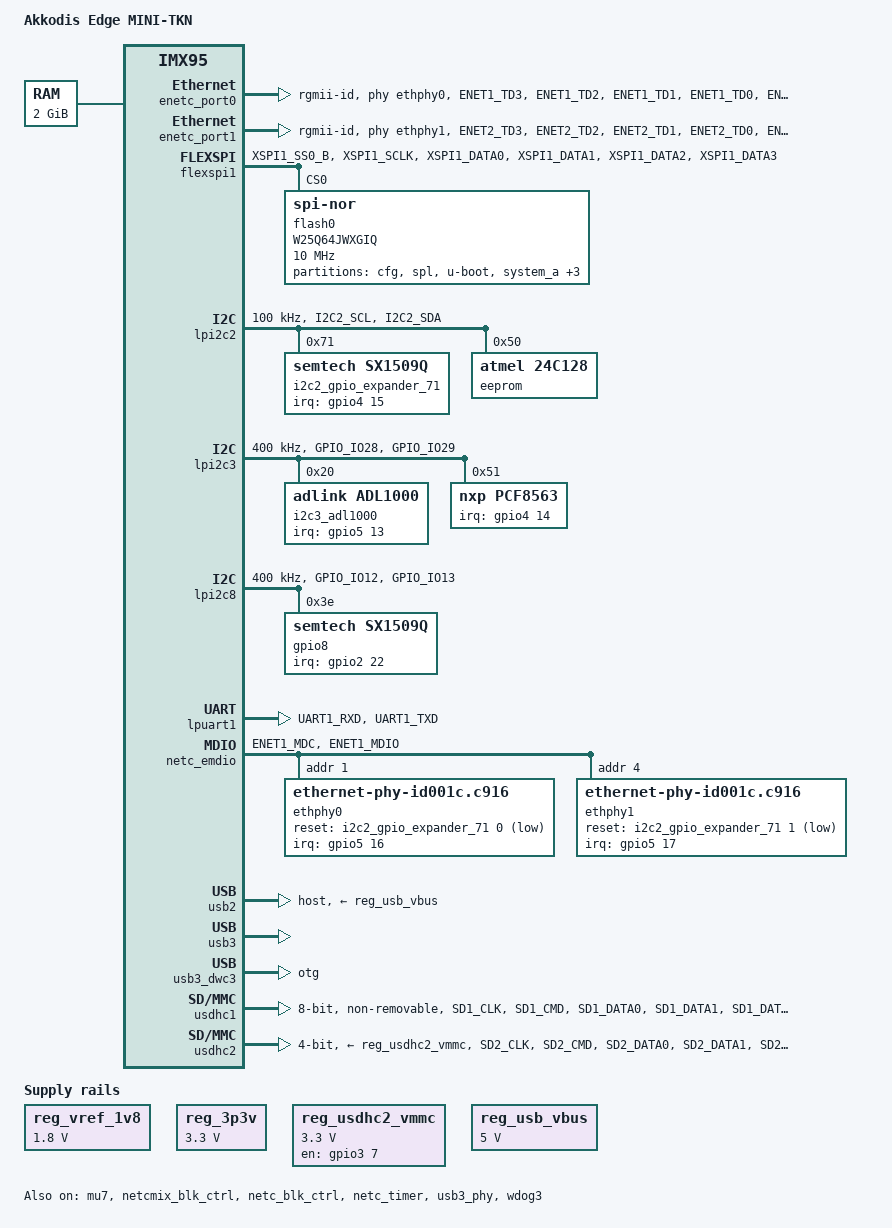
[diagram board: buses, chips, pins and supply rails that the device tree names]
// SPDX-License-Identifier: (GPL-2.0+ OR MIT)
/*
 * Copyright Akkodis Edge 2026
 */

/dts-v1/;

#include <dt-bindings/pwm/pwm.h>
#include <dt-bindings/usb/pd.h>
#include "imx95.dtsi"

#define FALLING_EDGE			1
#define RISING_EDGE			2

#define BRD_SM_CTRL_SD3_WAKE		0x8000	/* PCAL6408A-0 */
#define BRD_SM_CTRL_PCIE1_WAKE		0x8001	/* PCAL6408A-4 */
#define BRD_SM_CTRL_BT_WAKE		0x8002	/* PCAL6408A-5 */
#define BRD_SM_CTRL_PCIE2_WAKE		0x8003	/* PCAL6408A-6 */
#define BRD_SM_CTRL_BUTTON		0x8004	/* PCAL6408A-7 */

/ {
	model = "Akkodis Edge MINI-TKN";
	compatible = "ake,mtkn", "fsl,imx95";

	aliases {
		ethernet0 = &enetc_port0;
		ethernet1 = &enetc_port1;
		gpio0 = &gpio1;
		gpio1 = &gpio2;
		gpio2 = &gpio3;
		gpio3 = &gpio4;
		gpio4 = &gpio5;
		i2c0 = &lpi2c1;
		i2c1 = &lpi2c2;
		i2c2 = &lpi2c3;
		i2c3 = &lpi2c4;
		i2c4 = &lpi2c5;
		i2c5 = &lpi2c6;
		i2c6 = &lpi2c7;
		i2c7 = &lpi2c8;
		mmc0 = &usdhc1;
		mmc1 = &usdhc2;
		serial0 = &lpuart1;
		serial4 = &lpuart5;
	};

	chosen {
		stdout-path = &lpuart1;
	};

	memory@80000000 {
		device_type = "memory";
		reg = <0x0 0x80000000 0 0x80000000>;
	};

	reserved-memory {
		#address-cells = <2>;
		#size-cells = <2>;
		ranges;

		linux_cma: linux,cma {
			compatible = "shared-dma-pool";
			alloc-ranges = <0 0x80000000 0 0x7f000000>;
			size = <0 0x3c000000>;
			linux,cma-default;
			reusable;
		};
	};

	reg_vref_1v8: regulator-1p8v {
		compatible = "regulator-fixed";
		regulator-max-microvolt = <1800000>;
		regulator-min-microvolt = <1800000>;
		regulator-name = "+V1.8_SW";
	};

	reg_3p3v: regulator-3p3v {
		compatible = "regulator-fixed";
		regulator-max-microvolt = <3300000>;
		regulator-min-microvolt = <3300000>;
		regulator-name = "+V3.3_SW";
	};

	reg_usdhc2_vmmc: regulator-usdhc2 {
		compatible = "regulator-fixed";
		pinctrl-names = "default";
		pinctrl-0 = <&pinctrl_reg_usdhc2_vmmc>;
		regulator-name = "VDD_SD2_3V3";
		regulator-min-microvolt = <3300000>;
		regulator-max-microvolt = <3300000>;
		gpio = <&gpio3 7 GPIO_ACTIVE_HIGH>;
		off-on-delay-us = <12000>;
		enable-active-high;
	};

	reg_usb_vbus: regulator-vbus {
		compatible = "regulator-fixed";
		regulator-name = "USB_VBUS";
		regulator-min-microvolt = <5000000>;
		regulator-max-microvolt = <5000000>;
	};
};

&enetc_port0 {
	pinctrl-names = "default";
	pinctrl-0 = <&pinctrl_enetc0>;
	phy-handle = <&ethphy0>;
	phy-mode = "rgmii-id";
	status = "okay";
};

&enetc_port1 {
	pinctrl-names = "default";
	pinctrl-0 = <&pinctrl_enetc1>;
	phy-handle = <&ethphy1>;
	phy-mode = "rgmii-id";
	status = "okay";
};

&flexspi1 {
	pinctrl-names = "default";
	pinctrl-0 = <&pinctrl_flexspi1>;
	status = "okay";

	flash0: W25Q64JWXGIQ@0 {
		compatible = "jedec,spi-nor";
		reg = <0>;
		#address-cells = <1>;
		#size-cells = <1>;
		/*
		 * FIXME: Limit to fairly low frequency to start with,
		 * come back here and find a higher and stable
		 * frequency.
		 */
		spi-max-frequency = <10000000>;
		spi-tx-bus-width = <4>;
		spi-rx-bus-width = <4>;

		partitions {
			compatible = "fixed-partitions";
			#address-cells = <1>;
			#size-cells = <1>;

			cfg@0 {
				/*
				 * 0x0 OFTAD key blob
				 * 0x400 FlexSPI Config Block
				 */
				label = "cfg";
				reg = <0x000000 0x001000>;
			};
			spl@1000 {
				label = "spl";
				reg = <0x001000 0x1ff000>;
			};
			u-boot@200000 {
				label = "u-boot";
				reg = <0x200000 0x200000>;
			};
			system_a@400000 {
				label = "system_a";
				reg = <0x400000 0x010000>;
			};
			system_b@410000 {
				label = "system_b";
				reg = <0x410000 0x010000>;
			};
			user_a@420000 {
				label = "user_a";
				reg = <0x420000 0x010000>;
			};
			user_b@430000 {
				label = "user_b";
				reg = <0x430000 0x010000>;
			};
		};
	};
};

&lpi2c2 {
	clock-frequency = <100000>;
	pinctrl-names = "default";
	pinctrl-0 = <&pinctrl_lpi2c2>;
	status = "okay";

	i2c2_gpio_expander_71: i2c2_gpio_expander_71@71 {
		/* GPIO Expander  Mapping :
		 * - 0: ENET1_RST_B_3V			=>			U2001
		 * - 1: ENET2_RST_B_3V			=>			U2101
		 * - 2: SERDES_RST#_3V			=>			SMARC S77 PCIE_C_RST
		 * - 3: RC210_EN_3V			=>			U1300 ,RC21008B001GND
		 * - 4: LT9611_RSTN_3V			=>			U1500
		 * - 5: HDMI_INT_3V				<= 			U1500
		 * - 6: PCIEA_RST#_3V			=>			SMARC P75
		 * - 7: PCIEB_RST#_3V			=>			SMARC S76
		 * - 8: TPM_RST_N_1V8			=> 			U2400
		 * - 9: LID#_1V8				<= R1005	SMARC S148
		 * - 10: SLEEP#_1V8				<= R1010	SMARC S149
		 * - 11: CHARGING#_1V8			<= R1007	SMARC S151
		 * - 12: CHARGER_PRSNT#_1V8		<= R1011	SMARC S152
		 * - 13: BATLOW#_1V8			<= R1014	SMARC S156
		 * - 14: TEST#_1V8				<= R1015	SMARC S157
		 * - 15: DSI0_TE_1V8    		<= R1087	SMARC S144
		 */
		#gpio-cells = <2>;
		#interrupt-cells = <2>;
		compatible = "semtech,sx1509q";
		reg = <0x71>;
		semtech,probe-reset;
		gpio-controller;
		interrupt-controller;
		interrupt-parent = <&gpio4>;
		interrupts = <15 IRQ_TYPE_LEVEL_LOW>;
		pinctrl-names = "default";
		pinctrl-0 = <&pinctrl_sx1509q>;
		status = "okay";
	};

    eeprom@50 {
        compatible = "atmel,24c128";
        reg = <0x50>;
        pagesize = <64>;
        num-addresses = <1>;
    };
};

&lpi2c3 {
	clock-frequency = <400000>;
	pinctrl-names = "default";
	pinctrl-0 = <&pinctrl_lpi2c3>;
	status = "okay";

	i2c3_adl1000: i2c3_adl1000@20 {
		compatible = "adlink,adl1000";
		pinctrl-names = "default";
		//interrupt pin A3, A4, B0, B1, B2, B5, B6, B10, B11, B12, B13, B14, B15
		//INT : PC2 , SCL : PB8 , SDA : PB9
		/* GPIO Expander  Mapping :
		 * - 0: PA0 		LCD1_VDD_EN_1V8			=>			SMARC S116 LCD1_VDD_EN
		 * - 1: PA1 		LCD1_BKLT_EN_1V8		=>			SMARC S107 LCD1_BKLT_EN
		 * - 2: PA3(int)	CN_GPIO13_1V8			=>			SMARC S123 GPIO13
		 * - 3: PA4(int) 	CN_GPIO12_1V8			=>			SMARC S142 GPIO12
		 * - 4: PA5 		Detect_SYS_1V8			<=			R1040 VDD_1V8_S
		 * - 5: PA2 		FAN_PWM_MCU_1V8	(A2)	=>			NI => CN_GPIO5_PWM_1V8 (SMARC P113)
		 * - 6: PA7 		ETH_CLK_EN_1V8			=>			U1300 RC21008B001GND#BB0_RENESAS GPIO4
		 * - 7: PA10 		ONOFF_1V8	    		=> 			U600 (IMX95)

		 * - 8: PA11 		LCD0_VDD_EN_1V8	    	=> 			SMARC S133 LCD0_VDD_EN
		 * - 9: PA12 		LCD0_BKLT_EN_1V8		=>			SMARC S127 LCD0_BKLT_EN
		 * - 10: PB0(int) 	CN_GPIO0_CAM0_PWR#_1V8			=>	SMARC P108 CAM0_PWR
		 * - 11: PB1(int) 	CN_GPIO1_CAM1_PWR#_1V8			=> 	SMARC P109 CAM1_PWR
		 * - 12: PB2(int) 	CN_GPIO2_CAM0_RST#_1V8			=> 	SMARC P110 CAM0_RST
		 * - 13: PB5(int) 	CN_GPIO3_CAM1_RST#_1V8			=>  SMARC P111 CAM1_RST
		 * - 14: PB12 		EEPROM_WP				=>			U1601
		 * - 15: PB10(int) 	CN_GPIO11_1V8			=>			SMARC P119 GPIO11

		 * - 16: PB11(int) 	SYS_STATUS_1V8 (A2)		=>			Q1700 LED1700
		 * - 17: PB3 	R1097/R1096			(A2)
		 * - 18: PB4 	R1099/R1098			(A2)
		 * - 19: PB14(int) 	CN_GPIO9_1V8    		=>			SMARC P117 GPIO9
		 * - 20: PB15(int) 	CN_GPIO10_1V8			=>			SMARC P118 GPIO10
		 * - 21: PC3 		HOST_WAKE_BT_IN#_1V8	=>			U1900 AW-CM276NF pull-up
		 * - 22: PC4 		WL_PWR_DOWN#_1V8		=>			U1900 AW-CM276NF pull-up
		 * - 23: PC5 		HOST_WAKE_WL_IN_1V8		=>			U1900 AW-CM276NF pull-down
		 */
		pinctrl-0 = <&pinctrl_i2c3_adl1000>;
		reg = <0x20>;
		gpio-controller;
		#gpio-cells = <2>;
		interrupt-controller;
		#interrupt-cells = <2>;
		interrupt-parent = <&gpio5>;
		interrupts = <13 IRQ_TYPE_EDGE_FALLING>; // MCU_INTB1_1V8 , PC2
	};

	pcf8563: rtc@51 {
		compatible = "nxp,pcf8563";
		pinctrl-names = "default";
		pinctrl-0 = <&pinctrl_i2c3_rtc>;
		reg = <0x51>;
		#clock-cells = <0>;
		interrupt-parent = <&gpio4>;
		interrupts = <14 IRQ_TYPE_LEVEL_LOW>;
		wakeup-source;
	};
};

&lpi2c8 {
	#address-cells = <1>;
	#size-cells = <0>;
	clock-frequency = <400000>;
	pinctrl-names = "default";
	pinctrl-0 = <&pinctrl_lpi2c8>;
	status = "okay";

	/* SX1509(2) U1001@IPi SMARC Plus */
	gpio8: i2c2_gpioext0@3e {
		/* GPIO Expander 2 Mapping :
		 * - 0: E_GPIO1_0	<=>					IPi SMARC Plus CN101_PIN29: E_GPIO1_0
		 * - 1: E_GPIO1_1	<=>					IPi SMARC Plus CN101_PIN31: E_GPIO1_1
		 * - 2: E_GPIO1_2	<=>					IPi SMARC Plus CN101_PIN32: E_GPIO1_2
		 * - 3: E_GPIO1_3	<=>					IPi SMARC Plus CN101_PIN33: E_GPIO1_3
		 * - 4: E_GPIO1_4	<=>					IPi SMARC Plus CN101_PIN35: E_GPIO1_4
		 * - 5: E_GPIO1_5	<=>					IPi SMARC Plus CN101_PIN36: E_GPIO1_5
		 * - 6: E_GPIO1_6	<=>					IPi SMARC Plus CN101_PIN37: E_GPIO1_6
		 * - 7: E_GPIO1_7	<=>					IPi SMARC Plus CN101_PIN38: E_GPIO1_7
		 * - 8: E_GPIO2_8	<=>					IPi SMARC Plus CN101_PIN40: E_GPIO2_8
		 * - 9: TP1002		<=>					IPi SMARC Plus TP1002 (won't use)
		 * - 10: TP1003		<=>					IPi SMARC Plus TP1003 (won't use)
		 * - 11: TP1004		<=>					IPi SMARC Plus TP1004 (won't use)
		 * - 12: TP1005		<=>					IPi SMARC Plus TP1005 (won't use)
		 * - 13: TP1006		<=>					IPi SMARC Plus TP1006 (won't use)
		 * - 14: TP1007		<=>					IPi SMARC Plus TP1007 (won't use)
		 * - 15: TP1008		<=>					IPi SMARC Plus TP1008 (won't use)
		 * - 16: OSCIO		<=>					IPi SMARC Plus TP1001 (won't use)
		 */
		#gpio-cells = <2>;
		#interrupt-cells = <2>;
		compatible = "semtech,sx1509q";
		reg = <0x3e>;
		pinctrl-names = "default";
		pinctrl-0 = <&pinctrl_gpio8_int>;
		semtech,probe-reset;
		gpio-controller;
		interrupt-controller;
		interrupt-parent = <&gpio2>;
		interrupts = <22 IRQ_TYPE_EDGE_FALLING>;
	};
};

&lpuart1 {
	/* console */
	pinctrl-names = "default";
	pinctrl-0 = <&pinctrl_uart1>;
	status = "okay";
};

&mu7 {
	status = "okay";
};

&netcmix_blk_ctrl {
	status = "okay";
};

&netc_blk_ctrl {
	status = "okay";
};

&netc_emdio {
	pinctrl-names = "default";
	pinctrl-0 = <&pinctrl_emdio>;
	status = "okay";

	ethphy0: ethernet-phy@1 {
		reg = <1>;

		reset-gpios = <&i2c2_gpio_expander_71 0 GPIO_ACTIVE_LOW>;
		reset-assert-us = <10000>;
		reset-deassert-us = <80000>;
		interrupt-parent = <&gpio5>;
		interrupts = <16 IRQ_TYPE_EDGE_FALLING>;
		realtek,clkout-disable;
		compatible = "ethernet-phy-id001c.c916";
	};

	ethphy1: ethernet-phy@4 {
		reg = <4>;

		reset-gpios = <&i2c2_gpio_expander_71 1 GPIO_ACTIVE_LOW>;
		reset-assert-us = <10000>;
		reset-deassert-us = <80000>;
		interrupt-parent = <&gpio5>;
		interrupts = <17 IRQ_TYPE_EDGE_FALLING>;
		realtek,clkout-disable;
		compatible = "ethernet-phy-id001c.c916";
	};
};

&netc_timer {
	status = "okay";
};

&usb2 {
	dr_mode = "host";
	disable-over-current;
	vbus-supply = <&reg_usb_vbus>;
	status = "okay";
};

&usb3 {
	status = "okay";
};

&usb3_dwc3 {
	dr_mode = "otg";
	hnp-disable;
	srp-disable;
	adp-disable;
	usb-role-switch;
	role-switch-default-mode = "peripheral";
	snps,dis-u1-entry-quirk;
	snps,dis-u2-entry-quirk;
	status = "okay";
};

&usb3_phy {
	fsl,phy-pcs-tx-deemph-3p5db-attenuation-db = <17>;
	fsl,phy-pcs-tx-swing-full-percent = <100>;
	fsl,phy-tx-preemp-amp-tune-microamp = <600>;
	fsl,phy-tx-vboost-level-microvolt = <1156>;
	fsl,phy-tx-vref-tune-percent = <100>;
	orientation-switch;
	status = "okay";
};

&usdhc1 {
	pinctrl-names = "default", "state_100mhz", "state_200mhz", "sleep";
	pinctrl-0 = <&pinctrl_usdhc1>;
	pinctrl-1 = <&pinctrl_usdhc1_100mhz>;
	pinctrl-2 = <&pinctrl_usdhc1_200mhz>;
	pinctrl-3 = <&pinctrl_usdhc1>;
	bus-width = <8>;
	non-removable;
	no-sdio;
	no-sd;
	status = "okay";
};

&usdhc2 {
	pinctrl-names = "default", "state_100mhz", "state_200mhz", "sleep";
	pinctrl-0 = <&pinctrl_usdhc2>;
	pinctrl-1 = <&pinctrl_usdhc2_100mhz>;
	pinctrl-2 = <&pinctrl_usdhc2_200mhz>;
	pinctrl-3 = <&pinctrl_usdhc2>;
	bus-width = <4>;
	cd-gpios = <&gpio3 00 GPIO_ACTIVE_LOW>;
	vmmc-supply = <&reg_usdhc2_vmmc>;
	status = "okay";
};

&scmi_misc {
	nxp,ctrl-ids = <BRD_SM_CTRL_SD3_WAKE	FALLING_EDGE
			BRD_SM_CTRL_PCIE1_WAKE	FALLING_EDGE
			BRD_SM_CTRL_BT_WAKE	FALLING_EDGE
			BRD_SM_CTRL_PCIE2_WAKE	FALLING_EDGE
			BRD_SM_CTRL_BUTTON	FALLING_EDGE>;
};

&wdog3 {
	fsl,ext-reset-output;
	status = "okay";
};

&scmi_iomuxc {
	pinctrl_emdio: emdiogrp {
		fsl,pins = <
			IMX95_PAD_ENET1_MDC__NETCMIX_TOP_NETC_MDC		0x57e
			IMX95_PAD_ENET1_MDIO__NETCMIX_TOP_NETC_MDIO		0x97e
		>;
	};

	pinctrl_enetc0: enetc0grp {
		fsl,pins = <
			IMX95_PAD_ENET1_TD3__NETCMIX_TOP_ETH0_RGMII_TD3		0x50e
			IMX95_PAD_ENET1_TD2__NETCMIX_TOP_ETH0_RGMII_TD2		0x50e
			IMX95_PAD_ENET1_TD1__NETCMIX_TOP_ETH0_RGMII_TD1		0x50e
			IMX95_PAD_ENET1_TD0__NETCMIX_TOP_ETH0_RGMII_TD0		0x50e
			IMX95_PAD_ENET1_TX_CTL__NETCMIX_TOP_ETH0_RGMII_TX_CTL	0x57e
			IMX95_PAD_ENET1_TXC__NETCMIX_TOP_ETH0_RGMII_TX_CLK	0x58e
			IMX95_PAD_ENET1_RX_CTL__NETCMIX_TOP_ETH0_RGMII_RX_CTL	0x57e
			IMX95_PAD_ENET1_RXC__NETCMIX_TOP_ETH0_RGMII_RX_CLK	0x58e
			IMX95_PAD_ENET1_RD0__NETCMIX_TOP_ETH0_RGMII_RD0		0x57e
			IMX95_PAD_ENET1_RD1__NETCMIX_TOP_ETH0_RGMII_RD1		0x57e
			IMX95_PAD_ENET1_RD2__NETCMIX_TOP_ETH0_RGMII_RD2		0x57e
			IMX95_PAD_ENET1_RD3__NETCMIX_TOP_ETH0_RGMII_RD3		0x57e
		>;
	};

	pinctrl_enetc1: enetc1grp {
		fsl,pins = <
			IMX95_PAD_ENET2_TD3__NETCMIX_TOP_ETH1_RGMII_TD3		0x57e
			IMX95_PAD_ENET2_TD2__NETCMIX_TOP_ETH1_RGMII_TD2		0x57e
			IMX95_PAD_ENET2_TD1__NETCMIX_TOP_ETH1_RGMII_TD1		0x57e
			IMX95_PAD_ENET2_TD0__NETCMIX_TOP_ETH1_RGMII_TD0		0x57e
			IMX95_PAD_ENET2_TX_CTL__NETCMIX_TOP_ETH1_RGMII_TX_CTL	0x57e
			IMX95_PAD_ENET2_TXC__NETCMIX_TOP_ETH1_RGMII_TX_CLK	0x5fe
			IMX95_PAD_ENET2_RX_CTL__NETCMIX_TOP_ETH1_RGMII_RX_CTL	0x57e
			IMX95_PAD_ENET2_RXC__NETCMIX_TOP_ETH1_RGMII_RX_CLK	0x5fe
			IMX95_PAD_ENET2_RD0__NETCMIX_TOP_ETH1_RGMII_RD0		0x57e
			IMX95_PAD_ENET2_RD1__NETCMIX_TOP_ETH1_RGMII_RD1		0x57e
			IMX95_PAD_ENET2_RD2__NETCMIX_TOP_ETH1_RGMII_RD2		0x57e
			IMX95_PAD_ENET2_RD3__NETCMIX_TOP_ETH1_RGMII_RD3		0x57e
		>;
	};

	pinctrl_flexspi1: flexspi1grp {
		fsl,pins = <
			IMX95_PAD_XSPI1_SS0_B__FLEXSPI1_A_SS0_B			0x3fe
			IMX95_PAD_XSPI1_SCLK__FLEXSPI1_A_SCLK			0x3fe
			IMX95_PAD_XSPI1_DATA0__FLEXSPI1_A_DATA_BIT0		0x3fe
			IMX95_PAD_XSPI1_DATA1__FLEXSPI1_A_DATA_BIT1		0x3fe
			IMX95_PAD_XSPI1_DATA2__FLEXSPI1_A_DATA_BIT2		0x3fe
			IMX95_PAD_XSPI1_DATA3__FLEXSPI1_A_DATA_BIT3		0x3fe
		>;
	};

	pinctrl_lpi2c2: lpi2c2grp {
		fsl,pins = <
			IMX95_PAD_I2C2_SCL__AONMIX_TOP_LPI2C2_SCL		0x40000b9e
			IMX95_PAD_I2C2_SDA__AONMIX_TOP_LPI2C2_SDA		0x40000b9e
		>;
	};

	pinctrl_lpi2c3: lpi2c3grp {
		fsl,pins = <
			IMX95_PAD_GPIO_IO28__LPI2C3_SDA				0x40000b9e
			IMX95_PAD_GPIO_IO29__LPI2C3_SCL				0x40000b9e
		>;
	};

	pinctrl_lpi2c8: lpi2c8grp {
		fsl,pins = <
			IMX95_PAD_GPIO_IO12__LPI2C8_SDA			0x40000b9e
			IMX95_PAD_GPIO_IO13__LPI2C8_SCL 		0x40000b9e
		>;
	};

	pinctrl_sx1509q: sx1509qgrp {
		fsl,pins = <
			IMX95_PAD_ENET2_MDIO__GPIO4_IO_BIT15			0x1fe	//not pull down,not pull up ,Fast slew rate, drive X6
		>;
	};

	pinctrl_i2c3_adl1000: i2c8adl1000grp {
		fsl,pins = <
			IMX95_PAD_GPIO_IO33__GPIO5_IO_BIT13			0x1fe	//not pull down,not pull up ,Fast slew rate, drive X6
		>;
	};

	pinctrl_i2c3_rtc: i2c3rtcgrp {
		fsl,pins = <
			IMX95_PAD_ENET2_MDC__GPIO4_IO_BIT14			0x1fe	//not pull down,not pull up ,Fast slew rate, drive X6
		>;
	};

	pinctrl_gpio8_int: gpio8grp {
		fsl,pins = <
		//SMARC GPIO5 for iPI SMARC plus external gpio's interrupt pin
			IMX95_PAD_GPIO_IO22__GPIO2_IO_BIT22			0x1fe	//not pull down,not pull up ,Fast slew rate, drive X6
		>;
	};

	pinctrl_uart1: uart1grp {
		fsl,pins = <
			IMX95_PAD_UART1_RXD__AONMIX_TOP_LPUART1_RX      0x31e
			IMX95_PAD_UART1_TXD__AONMIX_TOP_LPUART1_TX      0x31e
		>;
	};

	pinctrl_usdhc1: usdhc1grp {
		fsl,pins = <
			IMX95_PAD_SD1_CLK__USDHC1_CLK			0x158e
			IMX95_PAD_SD1_CMD__USDHC1_CMD			0x138e
			IMX95_PAD_SD1_DATA0__USDHC1_DATA0		0x138e
			IMX95_PAD_SD1_DATA1__USDHC1_DATA1		0x138e
			IMX95_PAD_SD1_DATA2__USDHC1_DATA2		0x138e
			IMX95_PAD_SD1_DATA3__USDHC1_DATA3		0x138e
			IMX95_PAD_SD1_DATA4__USDHC1_DATA4		0x138e
			IMX95_PAD_SD1_DATA5__USDHC1_DATA5		0x138e
			IMX95_PAD_SD1_DATA6__USDHC1_DATA6		0x138e
			IMX95_PAD_SD1_DATA7__USDHC1_DATA7		0x138e
			IMX95_PAD_SD1_STROBE__USDHC1_STROBE		0x158e
		>;
	};

	pinctrl_usdhc1_100mhz: usdhc1-100mhzgrp {
		fsl,pins = <
			IMX95_PAD_SD1_CLK__USDHC1_CLK			0x158e
			IMX95_PAD_SD1_CMD__USDHC1_CMD			0x138e
			IMX95_PAD_SD1_DATA0__USDHC1_DATA0		0x138e
			IMX95_PAD_SD1_DATA1__USDHC1_DATA1		0x138e
			IMX95_PAD_SD1_DATA2__USDHC1_DATA2		0x138e
			IMX95_PAD_SD1_DATA3__USDHC1_DATA3		0x138e
			IMX95_PAD_SD1_DATA4__USDHC1_DATA4		0x138e
			IMX95_PAD_SD1_DATA5__USDHC1_DATA5		0x138e
			IMX95_PAD_SD1_DATA6__USDHC1_DATA6		0x138e
			IMX95_PAD_SD1_DATA7__USDHC1_DATA7		0x138e
			IMX95_PAD_SD1_STROBE__USDHC1_STROBE		0x158e
		>;
	};

	pinctrl_usdhc1_200mhz: usdhc1-200mhzgrp {
		fsl,pins = <
			IMX95_PAD_SD1_CLK__USDHC1_CLK			0x159e
			IMX95_PAD_SD1_CMD__USDHC1_CMD			0x139e
			IMX95_PAD_SD1_DATA0__USDHC1_DATA0		0x139e
			IMX95_PAD_SD1_DATA1__USDHC1_DATA1		0x139e
			IMX95_PAD_SD1_DATA2__USDHC1_DATA2		0x139e
			IMX95_PAD_SD1_DATA3__USDHC1_DATA3		0x139e
			IMX95_PAD_SD1_DATA4__USDHC1_DATA4		0x139e
			IMX95_PAD_SD1_DATA5__USDHC1_DATA5		0x139e
			IMX95_PAD_SD1_DATA6__USDHC1_DATA6		0x139e
			IMX95_PAD_SD1_DATA7__USDHC1_DATA7		0x139e
			IMX95_PAD_SD1_STROBE__USDHC1_STROBE		0x159e
		>;
	};

	pinctrl_usdhc2: usdhc2grp {
		fsl,pins = <
			IMX95_PAD_SD2_CLK__USDHC2_CLK				0x158e
			IMX95_PAD_SD2_CMD__USDHC2_CMD				0x138e
			IMX95_PAD_SD2_DATA0__USDHC2_DATA0			0x138e
			IMX95_PAD_SD2_DATA1__USDHC2_DATA1			0x138e
			IMX95_PAD_SD2_DATA2__USDHC2_DATA2			0x138e
			IMX95_PAD_SD2_DATA3__USDHC2_DATA3			0x138e
			IMX95_PAD_SD2_VSELECT__USDHC2_VSELECT		0x51e
			IMX95_PAD_SD2_CD_B__GPIO3_IO_BIT0			0x1fe	//not pull down,not pull up ,Fast slew rate, drive X6
			IMX95_PAD_XSPI1_DQS__GPIO5_IO_BIT8			0x1fe	//not pull down,not pull up ,Fast slew rate, drive X6
		>;
	};

	pinctrl_usdhc2_100mhz: usdhc2-100mhzgrp {
		fsl,pins = <
			IMX95_PAD_SD2_CLK__USDHC2_CLK				0x158e
			IMX95_PAD_SD2_CMD__USDHC2_CMD				0x138e
			IMX95_PAD_SD2_DATA0__USDHC2_DATA0			0x138e
			IMX95_PAD_SD2_DATA1__USDHC2_DATA1			0x138e
			IMX95_PAD_SD2_DATA2__USDHC2_DATA2			0x138e
			IMX95_PAD_SD2_DATA3__USDHC2_DATA3			0x138e
			IMX95_PAD_SD2_VSELECT__USDHC2_VSELECT		0x51e
			IMX95_PAD_SD2_CD_B__GPIO3_IO_BIT0			0x1fe	//not pull down,not pull up ,Fast slew rate, drive X6
			IMX95_PAD_XSPI1_DQS__GPIO5_IO_BIT8			0x1fe	//not pull down,not pull up ,Fast slew rate, drive X6
		>;
	};

	pinctrl_usdhc2_200mhz: usdhc2-200mhzgrp {
		fsl,pins = <
			IMX95_PAD_SD2_CLK__USDHC2_CLK				0x15fe
			IMX95_PAD_SD2_CMD__USDHC2_CMD				0x13fe
			IMX95_PAD_SD2_DATA0__USDHC2_DATA0			0x13fe
			IMX95_PAD_SD2_DATA1__USDHC2_DATA1			0x13fe
			IMX95_PAD_SD2_DATA2__USDHC2_DATA2			0x13fe
			IMX95_PAD_SD2_DATA3__USDHC2_DATA3			0x13fe
			IMX95_PAD_SD2_VSELECT__USDHC2_VSELECT		0x51e
			IMX95_PAD_SD2_CD_B__GPIO3_IO_BIT0			0x1fe	//not pull down,not pull up ,Fast slew rate, drive X6
			IMX95_PAD_XSPI1_DQS__GPIO5_IO_BIT8			0x1fe	//not pull down,not pull up ,Fast slew rate, drive X6
		>;
	};

	pinctrl_reg_usdhc2_vmmc: regusdhc2vmmcgrp {
		fsl,pins = <
			IMX95_PAD_SD2_RESET_B__GPIO3_IO_BIT7			0x1fe	//not pull down,not pull up ,Fast slew rate, drive X6
		>;
	};

};

&thermal_zones {
	a55-thermal {
		trips {
			atrip2: trip2 {
				temperature = <55000>;
				hysteresis = <2000>;
				type = "active";
			};

			atrip3: trip3 {
				temperature = <65000>;
				hysteresis = <2000>;
				type = "active";
			};

			atrip4: trip4 {
				temperature = <75000>;
				hysteresis = <2000>;
				type = "active";
			};
		};
	};

	pf09-thermal {
		polling-delay = <2000>;
		polling-delay-passive = <250>;
		thermal-sensors = <&scmi_sensor 2>;

		trips {
			pf09_alert: trip0 {
				hysteresis = <2000>;
				temperature = <140000>;
				type = "passive";
			};

			pf09_crit: trip1 {
				hysteresis = <2000>;
				temperature = <155000>;
				type = "critical";
			};
		};
	};

	pf53arm-thermal {
		polling-delay = <2000>;
		polling-delay-passive = <250>;
		thermal-sensors = <&scmi_sensor 4>;

		cooling-maps {
			map0 {
				trip = <&pf5301_alert>;
				cooling-device =
					<&A55_0 THERMAL_NO_LIMIT THERMAL_NO_LIMIT>,
					<&A55_1 THERMAL_NO_LIMIT THERMAL_NO_LIMIT>,
					<&A55_2 THERMAL_NO_LIMIT THERMAL_NO_LIMIT>,
					<&A55_3 THERMAL_NO_LIMIT THERMAL_NO_LIMIT>,
					<&A55_4 THERMAL_NO_LIMIT THERMAL_NO_LIMIT>,
					<&A55_5 THERMAL_NO_LIMIT THERMAL_NO_LIMIT>;
			};
		};

		trips {
			pf5301_alert: trip0 {
				hysteresis = <2000>;
				temperature = <140000>;
				type = "passive";
			};

			pf5301_crit: trip1 {
				hysteresis = <2000>;
				temperature = <155000>;
				type = "critical";
			};
		};
	};

	pf53soc-thermal {
		polling-delay = <2000>;
		polling-delay-passive = <250>;
		thermal-sensors = <&scmi_sensor 3>;

		trips {
			pf5302_alert: trip0 {
				hysteresis = <2000>;
				temperature = <140000>;
				type = "passive";
			};

			pf5302_crit: trip1 {
				hysteresis = <2000>;
				temperature = <155000>;
				type = "critical";
			};
		};
	};
};
